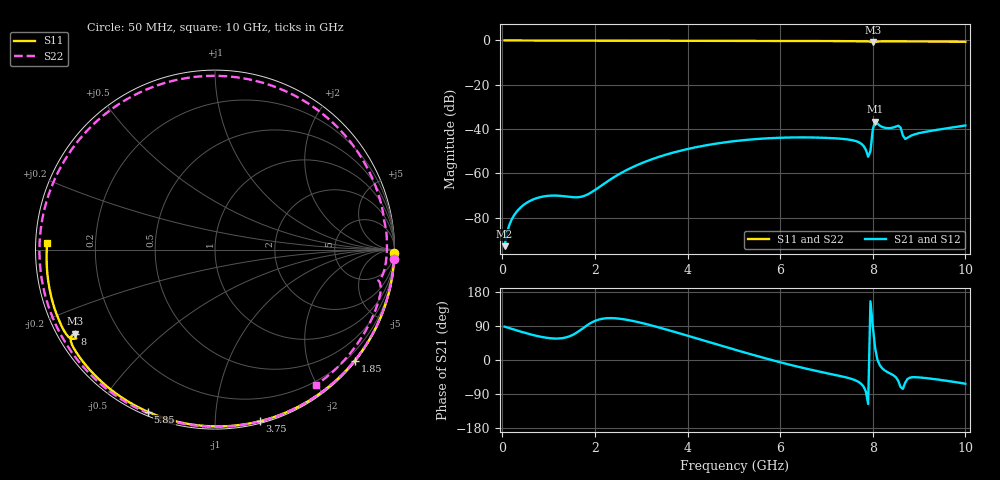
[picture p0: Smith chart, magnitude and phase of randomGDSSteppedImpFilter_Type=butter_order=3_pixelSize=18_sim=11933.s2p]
! freq	dB(S11)	phase(S11)	dB(S12)	phase(S12)
!  dB(S21)	phase(S21)	dB(S22)	phase(S22)
!S-par simulation data
#  GHz  S  DB  R 50
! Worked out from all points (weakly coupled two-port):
!   200 points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, 50 MHz to 10 GHz, reference 50 ohm
!   highest |S21| = -36.72 dB at 8.05 GHz (marker M1); lowest = -92.9 dB at 50 MHz (marker M2)
!   lowest |S11| = -0.8 dB at 8 GHz (marker M3), VSWR 21.38, Z = 2.52 - j13.8 ohm
!   |S11| at or under -10 dB: nowhere
!   |S22| runs from -0.7 to 0.0 dB; largest |S21 - S12| = 0
!   S11 on the Smith chart (normalised r, x): 50 MHz: open; 1.85 GHz: 0.03, -2.87; 3.75 GHz: 0.02, -1.30; 5.85 GHz: 0.02, -0.67; 8 GHz: 0.05, -0.28; 10 GHz: 0.03, +0.02
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0.05  -0.00 -1.1  -92.89 88.1  -92.89 88.1  -0.00 -2.9
0.2  -0.01 -4.2  -80.97 82.3  -80.97 82.3  -0.02 -11.5
0.95  -0.03 -20.0  -70.24 58.8  -70.24 58.8  -0.07 -53.3
1.75  -0.05 -36.4  -70.32 84.6  -70.32 84.6  -0.11 -94.5
1.85  -0.05 -38.5  -69.45 93.1  -69.45 93.1  -0.12 -99.4
2.65  -0.07 -54.4  -58.89 107.0  -58.89 107.0  -0.15 -136.2
3.4  -0.09 -68.8  -52.43 85.3  -52.43 85.3  -0.18 -168.1
3.75  -0.10 -75.3  -50.30 73.1  -50.30 73.1  -0.19 177.6
4.35  -0.12 -86.3  -47.53 51.5  -47.53 51.5  -0.22 153.3
5.05  -0.15 -98.7  -45.37 26.3  -45.37 26.3  -0.25 125.1
5.85  -0.19 -112.4  -44.06 -1.1  -44.06 -1.1  -0.28 92.9
6.7  -0.25 -126.7  -43.81 -26.7  -43.81 -26.7  -0.30 58.9
7.65  -0.33 -142.7  -45.55 -55.1  -45.55 -55.1  -0.34 22.4
7.8  -0.37 -145.5  -47.59 -69.9  -47.59 -69.9  -0.35 16.9
7.9  -0.43 -147.6  -52.49 -116.2  -52.49 -116.2  -0.36 13.2
7.95  -0.55 -148.8  -49.94 154.9  -49.94 154.9  -0.38 11.4
8  -0.81 -149.0  -40.23 89.9  -40.23 89.9  -0.39 9.8
8.05  -0.74 -147.4  -36.72 32.0  -36.72 32.0  -0.37 8.1
8.35  -0.40 -153.3  -39.58 -34.0  -39.58 -34.0  -0.39 -2.8
8.55  -0.42 -156.8  -38.50 -55.0  -38.50 -55.0  -0.57 -9.8
8.7  -0.42 -159.4  -44.47 -59.8  -44.47 -59.8  -0.45 -13.0
10  -0.58 177.9  -38.39 -62.6  -38.39 -62.6  -0.53 -53.4
